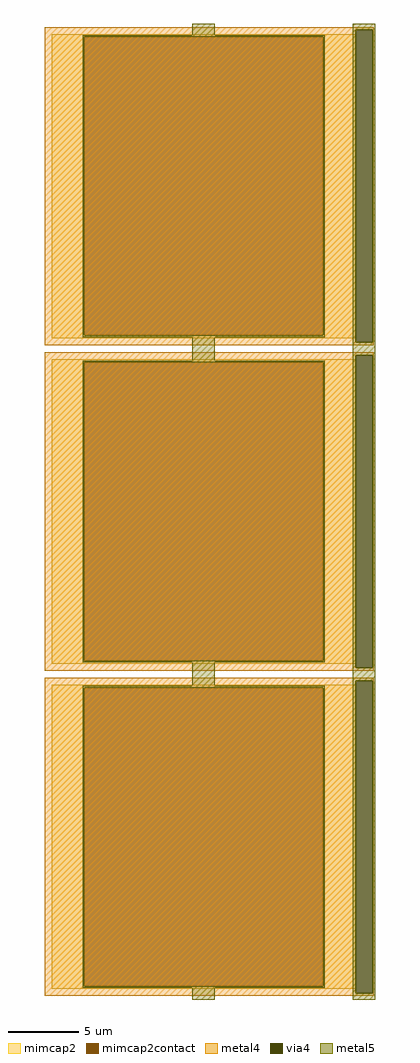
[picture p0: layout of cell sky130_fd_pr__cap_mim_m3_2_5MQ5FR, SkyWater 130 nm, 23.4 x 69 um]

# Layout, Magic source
magic
tech sky130A
magscale 1 2
<< metal4 >>
rect -2329 6809 2329 6850
rect -2329 2391 2073 6809
rect 2309 2391 2329 6809
rect -2329 2350 2329 2391
rect -2329 2209 2329 2250
rect -2329 -2209 2073 2209
rect 2309 -2209 2329 2209
rect -2329 -2250 2329 -2209
rect -2329 -2391 2329 -2350
rect -2329 -6809 2073 -2391
rect 2309 -6809 2329 -2391
rect -2329 -6850 2329 -6809
<< via4 >>
rect 2073 2391 2309 6809
rect 2073 -2209 2309 2209
rect 2073 -6809 2309 -2391
<< mimcap2 >>
rect -2229 6710 2071 6750
rect -2229 2490 -1767 6710
rect 1609 2490 2071 6710
rect -2229 2450 2071 2490
rect -2229 2110 2071 2150
rect -2229 -2110 -1767 2110
rect 1609 -2110 2071 2110
rect -2229 -2150 2071 -2110
rect -2229 -2490 2071 -2450
rect -2229 -6710 -1767 -2490
rect 1609 -6710 2071 -2490
rect -2229 -6750 2071 -6710
<< mimcap2contact >>
rect -1767 2490 1609 6710
rect -1767 -2110 1609 2110
rect -1767 -6710 1609 -2490
<< metal5 >>
rect -239 6734 81 6900
rect 2031 6809 2351 6900
rect -1791 6710 1633 6734
rect -1791 2490 -1767 6710
rect 1609 2490 1633 6710
rect -1791 2466 1633 2490
rect -239 2134 81 2466
rect 2031 2391 2073 6809
rect 2309 2391 2351 6809
rect 2031 2209 2351 2391
rect -1791 2110 1633 2134
rect -1791 -2110 -1767 2110
rect 1609 -2110 1633 2110
rect -1791 -2134 1633 -2110
rect -239 -2466 81 -2134
rect 2031 -2209 2073 2209
rect 2309 -2209 2351 2209
rect 2031 -2391 2351 -2209
rect -1791 -2490 1633 -2466
rect -1791 -6710 -1767 -2490
rect 1609 -6710 1633 -2490
rect -1791 -6734 1633 -6710
rect -239 -6900 81 -6734
rect 2031 -6809 2073 -2391
rect 2309 -6809 2351 -2391
rect 2031 -6900 2351 -6809
<< properties >>
string FIXED_BBOX -2329 2350 2171 6850
string gencell sky130_fd_pr__cap_mim_m3_2
string library sky130
string parameters w 21.5 l 21.5 val 940.84 carea 2.00 cperi 0.19 nx 1 ny 3 dummy 0 square 0 lmin 2.00 wmin 2.00 lmax 30.0 wmax 30.0 dc 0 bconnect 1 tconnect 1 ccov 80
<< end >>
